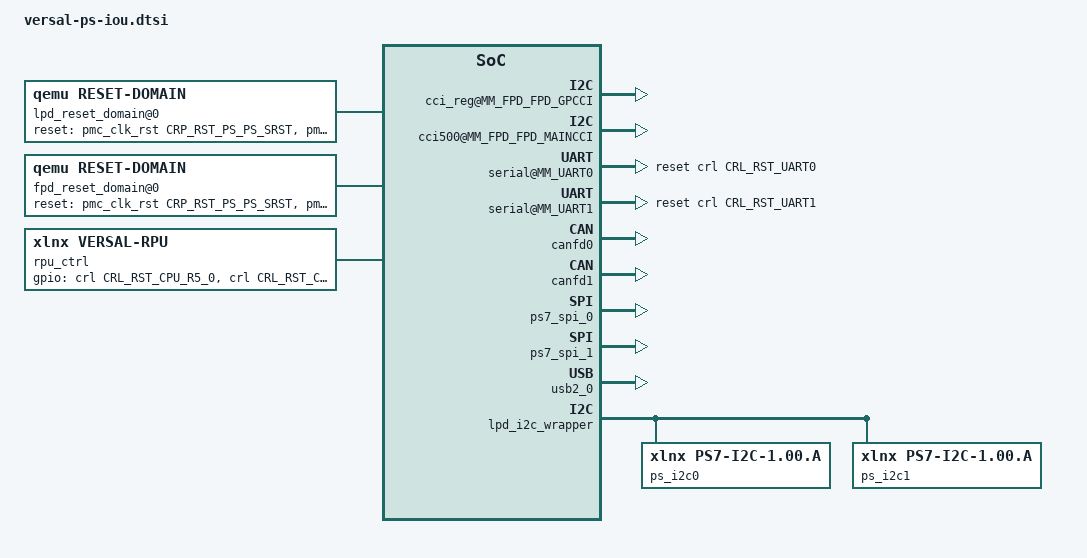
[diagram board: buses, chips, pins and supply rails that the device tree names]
/*
 * Versal PS IOU
 *
 * Copyright (c) 2016, Xilinx Inc
 * All rights reserved.
 *
 * Redistribution and use in source and binary forms, with or without
 * modification, are permitted provided that the following conditions are met:
 *     * Redistributions of source code must retain the above copyright
 *       notice, this list of conditions and the following disclaimer.
 *     * Redistributions in binary form must reproduce the above copyright
 *       notice, this list of conditions and the following disclaimer in the
 *       documentation and/or other materials provided with the distribution.
 *     * Neither the name of the <organization> nor the
 *       names of its contributors may be used to endorse or promote products
 *       derived from this software without specific prior written permission.
 *
 * THIS SOFTWARE IS PROVIDED BY THE COPYRIGHT HOLDERS AND CONTRIBUTORS "AS IS" AND
 * ANY EXPRESS OR IMPLIED WARRANTIES, INCLUDING, BUT NOT LIMITED TO, THE IMPLIED
 * WARRANTIES OF MERCHANTABILITY AND FITNESS FOR A PARTICULAR PURPOSE ARE
 * DISCLAIMED. IN NO EVENT SHALL <COPYRIGHT HOLDER> BE LIABLE FOR ANY
 * DIRECT, INDIRECT, INCIDENTAL, SPECIAL, EXEMPLARY, OR CONSEQUENTIAL DAMAGES
 * (INCLUDING, BUT NOT LIMITED TO, PROCUREMENT OF SUBSTITUTE GOODS OR SERVICES;
 * LOSS OF USE, DATA, OR PROFITS; OR BUSINESS INTERRUPTION) HOWEVER CAUSED AND
 * ON ANY THEORY OF LIABILITY, WHETHER IN CONTRACT, STRICT LIABILITY, OR TORT
 * (INCLUDING NEGLIGENCE OR OTHERWISE) ARISING IN ANY WAY OUT OF THE USE OF THIS
 * SOFTWARE, EVEN IF ADVISED OF THE POSSIBILITY OF SUCH DAMAGE.
 */

#include "versal.dtsh"

#define GEM(g_name, g_base, g_size, g_dma, g_irq, rst_idx, pwr_idx)	\
g_name: g_name@0 {							\
	#address-cells = <1>;						\
	#size-cells = <0>;						\
	#priority-cells = <0>;						\
	compatible = "cdns,gem";					\
	interrupts = <g_irq g_irq>;					\
	dma = <g_dma>;							\
	memattr = <& ## g_name ## _memattr>;				\
	reg = <0x0 g_base 0x0 g_size 0x0>;				\
	num-priority-queues = <2>;					\
	reset-gpios = <&crl rst_idx>;					\
	power-gpios = <&psm_local pwr_idx>;				\
}

// FIXME: Add support for SMIDs
#define ZDMA_CHANNEL(zname, zdomain, zbase, zirq, zbuswidth, zdma, mid, num)	\
zname ## _mattr: zname ## mattr {					\
	compatible = "qemu:memory-transaction-attr";			\
	requester-id = <mid>;						\
};									\
									\
zname: zname@zbase {							\
	compatible = "xlnx,zdma";					\
	reg = <0x0 zbase 0x0 MM_ADMA_CH0_SIZE 0x0>;			\
	bus-width = <zbuswidth>;					\
	interrupts = <zirq>;						\
	#stream-id-cells = <0x1>;					\
	dma = <zdma>;							\
	memattr = <& ## zname ## _mattr>;				\
	reset-gpios = < &crl CRL_RST_ADMA >;				\
	#gpio-cells = <1>;	\
	gpio-names = "memattr-secure";	\
	gpios = <&lpd_slcr_secure num>;	\
}

&amba_fpd {
	apu_ctrl: apu_ctrl@MM_FPD_FPD_APU {
		compatible = "xlnx,versal-apu-ctrl";
		reg = <0x0 MM_FPD_FPD_APU 0x0 MM_FPD_FPD_APU_SIZE 0x0>;
		cpu0 = <&cpu0>;
		cpu1 = <&cpu1>;
		#gpio-cells = <1>;
	};

	afi_fm@MM_FPD_FPD_AFIFM0 {
		compatible = "xlnx,versal-afi-fm";
		reg = <0x0 MM_FPD_FPD_AFIFM0 0x0 MM_FPD_FPD_AFIFM0_SIZE 0x0>;
	};

	afi_fm@MM_FPD_FPD_AFIFM2 {
		compatible = "xlnx,versal-afi-fm";
		reg = <0x0 MM_FPD_FPD_AFIFM2 0x0 MM_FPD_FPD_AFIFM2_SIZE 0x0>;
	};

	cci_reg@MM_FPD_FPD_GPCCI {
		compatible = "xlnx,cci_reg";
		reg = <0x0 MM_FPD_FPD_GPCCI 0x0 MM_FPD_FPD_MAINCCI_SIZE 0x0>;
	};

	cci500@MM_FPD_FPD_MAINCCI {
		compatible = "xlnx,cci500";
		reg = <0x0 MM_FPD_FPD_MAINCCI 0x0 MM_FPD_FPD_MAINCCI_SIZE 0x0>;
	};

	cpm_crcpm@MM_CPM_CPM_CRCPM {
		compatible = "xlnx,versal_cpm_crcpm";
		reg = <0x0 MM_CPM_CPM_CRCPM 0x0 MM_CPM_CPM_CRCPM_SIZE 0x0>;
	};

	cpm_pcsr@MM_CPM_CPM_PCSR {
		compatible = "xlnx,versal_cpm_pcsr";
		reg = <0x0 MM_CPM_CPM_PCSR 0x0 MM_CPM_CPM_PCSR_SIZE 0x0>;
	};

	fpd_slcr@MM_FPD_FPD_SLCR {
		compatible = "xlnx,versal-fpd-slcr";
		interrupts = <SLCR_FPD_APB_IRQ_0>;
		reg = <0x0 MM_FPD_FPD_SLCR 0x0 MM_FPD_FPD_SLCR_SIZE 0x0>;
	};

	fpd_slcr_secure@MM_FPD_FPD_SLCR {
		compatible = "xlnx,versal-fpd-slcr-secure";
		interrupts = <SLCR_SECURE_FPD_APB_IRQ_0>;
		reg = <0x0 MM_FPD_FPD_SLCR_SECURE 0x0 MM_FPD_FPD_SLCR_SECURE_SIZE 0x0>;
	};
};

&amba_lpd {
	GEM(gem0, MM_GEM0, MM_GEM0_SIZE, &smmu_tbu0, GEM0_IRQ_0, CRL_RST_GEM0, PLR_PWR_GEM0);
	GEM(gem1, MM_GEM1, MM_GEM1_SIZE, &smmu_tbu0, GEM1_IRQ_0, CRL_RST_GEM1, PLR_PWR_GEM1);

	serial@MM_UART0 {
		compatible = "pl011";
		interrupts = <UART0_IRQ_0>;
		reg = <0x0 MM_UART0 0x0 MM_UART0_SIZE 0x0 >;
		reset-gpios = < &crl CRL_RST_UART0 >;
		chardev = "serial2";
	};
	serial@MM_UART1 {
		compatible = "pl011";
		interrupts = <UART1_IRQ_0>;
		reg = <0x0 MM_UART1 0x0 MM_UART1_SIZE 0x0 >;
		reset-gpios = < &crl CRL_RST_UART1 >;
		chardev = "serial3";
	};

	canfdbus0: canfdbus@0 {
		compatible = "can-bus";
	};

	canfd0: can_core@MM_CANFD0 {
		compatible = "xlnx,versal-canfd";
		rx-fifo0 = <0x40>;
		rx-fifo1 = <0x40>;
		enable-rx-fifo1 = <0x1>;
		canfdbus = <&canfdbus0>;
		interrupts = <CAN0_IRQ_0>;
		reg = <0x0 MM_CANFD0 0x0 MM_CANFD0_SIZE 0x0>;
	};
	canfd1: can_core@MM_CANFD1 {
		compatible = "xlnx,versal-canfd";
		rx-fifo0 = <0x40>;
		rx-fifo1 = <0x40>;
		enable-rx-fifo1 = <0x1>;
		canfdbus = <&canfdbus0>;
		interrupts = <CAN1_IRQ_0>;
		reg = <0x0 MM_CANFD1 0x0 MM_CANFD1_SIZE 0x0>;
	};

	crl: crl@MM_CRL {
		compatible = "xlnx,versal-crl";
		reg = <0x0 MM_CRL 0x0 MM_CRL_SIZE 0x0>;
		gpio-controller;
		#gpio-cells = <1>;
	};

	lpd_iou_slcr: slcr@MM_LPD_IOU_SLCR {
		compatible = "xlnx,versal-lpd-iou-slcr";
		reg = <0x0 MM_LPD_IOU_SLCR 0x0 MM_LPD_IOU_SLCR_SIZE 0x0>;
	};

	rpu_ctrl: rpu_ctrl@MM_RPU {
		compatible = "xlnx,versal-rpu";
		reg-extended = <&amba_lpd 0x0 MM_RPU 0x0 MM_RPU_SIZE 0x0
                                &amba_r5_0 0x0 0x0 0x0 0x80000 0x0
                                &amba 0x0 MM_R5_0_ATCM 0x0 0x60000 0x0
                                &amba_r5_1 0x0 0x0 0x0 0x80000 0x0
                                &amba 0x0 0xFFE90000 0x0 0x50000 0x0>;
		rpu0 = <&rpu_cpu0>;
		rpu1 = <&rpu_cpu1>;

		gpio-controller;
		#gpio-cells = <1>;

		gpios = < &crl CRL_RST_CPU_R5_0 &crl CRL_RST_CPU_R5_1
			  &psm_local 42 &psm_local 43
			>;
	};

	ipi: ipi@MM_IPI {
		compatible = "xlnx,versal-ipi";
		reg = <0x0 MM_IPI 0x0 MM_IPI_SIZE 0x0>;

		/* Interrupt ordering here needs to match
		 * QEMU's sysbus-irq output order.  */
		interrupts = <IPI_PSM_IRQ_0
			      IPI_PMC_IRQ_0
			      IPI0_IRQ_0 IPI1_IRQ_0
			      IPI2_IRQ_0 IPI3_IRQ_0
			      IPI4_IRQ_0 IPI5_IRQ_0
			      IPI6_IRQ_0
			      IPI_PMC_NOBUF_IRQ_0
			      IPI_APB_IRQ_0>;
	};

	ps7_spi_0: ps7-spi@MM_SPI0 {
		compatible = "cdns,spi-r1p6";
		interrupts = <SPI0_IRQ_0>;
		num-ss-bits = <4>;
		reg = <0x0 MM_SPI0 0x0 MM_SPI0_SIZE 0x0 >;

		#address-cells = <1>; /* For child; must match SPI_FLASH() */
		#size-cells = <0>;
		#bus-cells = <1>;
	};
	ps7_spi_1: ps7-spi@MM_SPI1 {
		compatible = "cdns,spi-r1p6";
		interrupts = <SPI1_IRQ_0>;
		num-ss-bits = <4>;
		reg = <0x0 MM_SPI1 0x0 MM_SPI1_SIZE 0x0 >;

		#address-cells = <1>; /* For child; must match SPI_FLASH() */
		#size-cells = <0>;
		#bus-cells = <1>;
	};

	usb2_0: usb2@USB2_0_XHCI {
		compatible = "usb_dwc3";
		reg = <0x0 MM_USB_DWC3_0 0x0 MM_USB_DWC3_0_SIZE 0x0 0x0 MM_USB_XHCI 0x0 MM_USB_XHCI_SIZE 0x0>;
		interrupts = <USB2_IRQ_0 USB2_IRQ_1 USB2_IRQ_2 USB2_IRQ_3>;
		dma = <&smmu_tbu0>;
		memattr = <&usb0_memattr>;
	};

	ps7_ttc_0: ps7-ttc@TTC0 {
		compatible = "xlnx,ps7-ttc-1.00.a";
		interrupts = <TTC0_IRQ_0 TTC0_IRQ_1 TTC0_IRQ_2>;
		reg = <0x0 MM_TTC0 0x0 MM_TTC0_SIZE 0x0>;
		width = <32>;
		reset-gpios = < &crl CRL_RST_TTC0 >;
	};
	ps7_ttc_1: ps7-ttc@TTC1 {
		compatible = "xlnx,ps7-ttc-1.00.a";
		interrupts = <TTC1_IRQ_0 TTC1_IRQ_1 TTC1_IRQ_2>;
		reg = <0x0 MM_TTC1 0x0 MM_TTC1_SIZE 0x0>;
		width = <32>;
		reset-gpios = < &crl CRL_RST_TTC1 >;
	};
	ps7_ttc_2: ps7-ttc@TTC2 {
		compatible = "xlnx,ps7-ttc-1.00.a";
		interrupts = <TTC2_IRQ_0 TTC2_IRQ_1 TTC2_IRQ_2>;
		reg = <0x0 MM_TTC2 0x0 MM_TTC2_SIZE 0x0>;
		width = <32>;
		reset-gpios = < &crl CRL_RST_TTC2 >;
	};
	ps7_ttc_3: ps7-ttc@TTC3 {
		compatible = "xlnx,ps7-ttc-1.00.a";
		interrupts = <TTC3_IRQ_0 TTC3_IRQ_1 TTC3_IRQ_2>;
		reg = <0x0 MM_TTC3 0x0 MM_TTC3_SIZE 0x0>;
		width = <32>;
		reset-gpios = < &crl CRL_RST_TTC3 >;
	};

	ZDMA_CHANNEL(adma0, adma, MM_ADMA_CH0, ADMA_IRQ_0, 128, &smmu_tbu0, SMID_DMA0_CH0, 0x0);
	ZDMA_CHANNEL(adma1, adma, MM_ADMA_CH1, ADMA_IRQ_1, 128, &smmu_tbu0, SMID_DMA0_CH1, 0x1);
	ZDMA_CHANNEL(adma2, adma, MM_ADMA_CH2, ADMA_IRQ_2, 128, &smmu_tbu0, SMID_DMA0_CH2, 0x2);
	ZDMA_CHANNEL(adma3, adma, MM_ADMA_CH3, ADMA_IRQ_3, 128, &smmu_tbu0, SMID_DMA0_CH3, 0x3);
	ZDMA_CHANNEL(adma4, adma, MM_ADMA_CH4, ADMA_IRQ_4, 128, &smmu_tbu0, SMID_DMA0_CH4, 0x4);
	ZDMA_CHANNEL(adma5, adma, MM_ADMA_CH5, ADMA_IRQ_5, 128, &smmu_tbu0, SMID_DMA0_CH5, 0x5);
	ZDMA_CHANNEL(adma6, adma, MM_ADMA_CH6, ADMA_IRQ_6, 128, &smmu_tbu0, SMID_DMA0_CH6, 0x6);
	ZDMA_CHANNEL(adma7, adma, MM_ADMA_CH7, ADMA_IRQ_7, 128, &smmu_tbu0, SMID_DMA0_CH7, 0x7);

	afi_fm@MM_LPD_AFIFM4 {
		compatible = "xlnx,versal-afi-fm";
		reg = <0x0 MM_LPD_AFIFM4 0x0 MM_LPD_AFIFM4_SIZE 0x0>;
	};

	lpd_i2c_wrapper {
		ps_i2c0: ps_i2c0@MM_PS_I2C0 {
			#address-cells = <1>;
			#size-cells = <0>;
			compatible = "xlnx,ps7-i2c-1.00.a", "cdns,i2c-r1p10";
			interrupts = <I2C0_IRQ_0>;
			reg-extended = <&amba_lpd 0x0 MM_PS_I2C0 0x0 MM_PS_I2C0_SIZE 0x0>;
		};
		ps_i2c1: ps_i2c0@MM_PS_I2C1 {
			#address-cells = <1>;
			#size-cells = <0>;
			compatible = "xlnx,ps7-i2c-1.00.a", "cdns,i2c-r1p10";
			interrupts = <I2C1_IRQ_0>;
			reg-extended = <&amba_lpd 0x0 MM_PS_I2C1 0x0 MM_PS_I2C1_SIZE 0x0>;
		};
	};

	ocm_ctrl0: ocm_ctrl@OCM {
		compatible = "xlnx,zynqmp-ocmc";
		interrupts = <OCMINTR_IRQ_0>;
		memsize = <MM_OCM_MEM_SIZE>;
		reg = <0x0 MM_OCM 0x0 MM_OCM_SIZE 0x0>;
	};

	lpd_slcr@MM_LPD_SLCR {
		compatible = "xlnx,versal-lpd-slcr";
		reg = <0x0 MM_LPD_SLCR 0x0 MM_LPD_SLCR_SIZE 0x0>;
	};

	lpd_slcr_secure: lpd_slcr_secure@MM_LPD_SLCR_SECURE {
		compatible = "xlnx,versal-lpd-slcr-secure";
		reg = <0x0 MM_LPD_SLCR_SECURE 0x0 MM_LPD_SLCR_SECURE_SIZE 0x0>;
		gpio-controller;
		#gpio-cells = <1>;
	};
};

&amba_root {
	/* These devices need to be created before the CPUs.  */
	crf: crf@MM_FPD_CRF {
		compatible = "xlnx,versal-crf";
		reg-extended = <&amba_fpd 0x0 MM_FPD_CRF 0x0 MM_FPD_CRF_SIZE 0x0>;
		gpio-controller;
		#gpio-cells = <1>;
	};
};

/ {
	/* Reset domains.  */
	lpd_reset_domain@0 {
		compatible = "qemu,reset-domain";
		mr0 = <&amba_lpd>;
		reset-gpios = < &pmc_clk_rst CRP_RST_PS_PS_SRST
				&pmc_clk_rst CRP_RST_PS_PS_POR >;
	};

	fpd_reset_domain@0 {
		compatible = "qemu,reset-domain";
		mr0 = <&amba_fpd>;
		reset-gpios = < &pmc_clk_rst CRP_RST_PS_PS_SRST
				&pmc_clk_rst CRP_RST_PS_PS_POR
				&crl CRL_RST_FPD_POR
				&crl CRL_RST_FPD_SRST >;
	};
};
